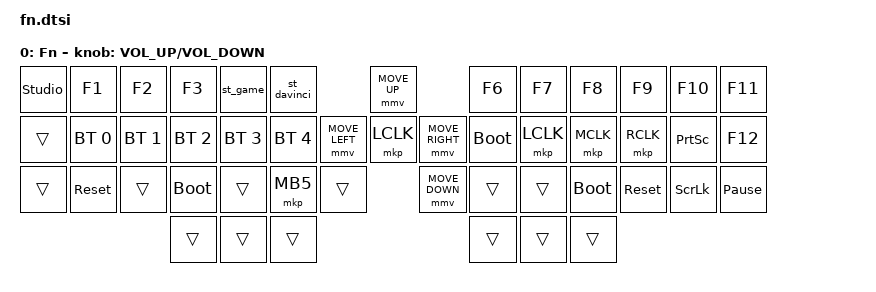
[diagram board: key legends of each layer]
/ {
    behaviors {
        SHIFT_TOG(st_game, F4, 4)
        SHIFT_TOG(st_davinci, F5, 5)
    };
};

/ {
    keymap {
        compatible = "zmk,keymap";

        layer_3 {
            display-name = "Fn";
            bindings = <
&studio_unlock  &kp F1         &kp F2         &kp F3         &st_game      &st_davinci                                      &mmv MOVE_UP                     &kp F6       &kp F7     &kp F8       &kp F9      &kp F10          &kp F11
&trans          &bt BT_SEL 0   &bt BT_SEL 1   &bt BT_SEL 2   &bt BT_SEL 3  &bt BT_SEL 4                &mmv MOVE_LEFT  &mkp LCLK       &mmv MOVE_RIGHT  &bootloader  &mkp LCLK  &mkp MCLK    &mkp RCLK   &kp PRINTSCREEN  &kp F12
&trans          &sys_reset     &trans         &bootloader    &trans        &mkp MB5  &trans                            &mmv MOVE_DOWN                   &trans       &trans     &bootloader  &sys_reset  &kp SCROLLLOCK   &kp PAUSE_BREAK
                                              &trans         &trans        &trans                                                                       &trans       &trans     &trans
            >;
            sensor-bindings = <&inc_dec_kp C_VOLUME_UP C_VOLUME_DOWN>;
        };
    };
};
